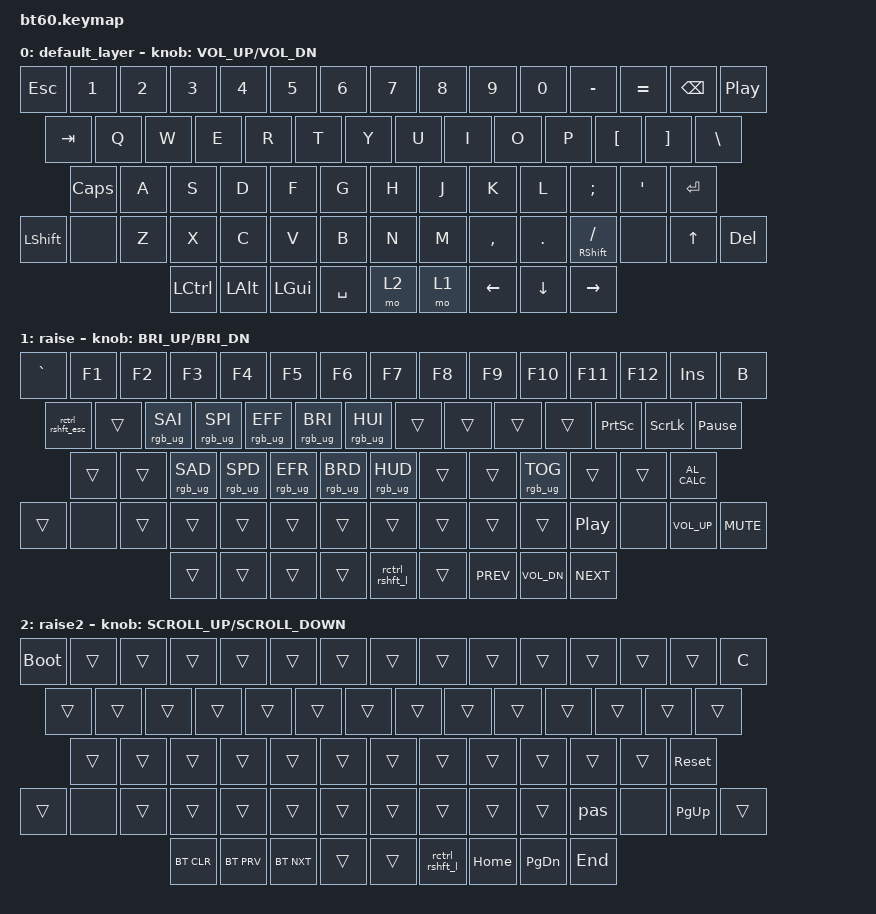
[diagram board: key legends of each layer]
#include <behaviors.dtsi>
#include <dt-bindings/zmk/keys.h>
#include <dt-bindings/zmk/bt.h>
#include <dt-bindings/zmk/rgb.h>
#include <dt-bindings/zmk/backlight.h>
/ {
    macros {
        rctrl_rshft_l: rctrl_rshft_l {
            label = "ZM_rctrl_rshft_l";
            compatible = "zmk,behavior-macro";
            #binding-cells = <0>;
	    wait-ms = <40>;
	    tap-ms = <40>;
            bindings
                = <&macro_press &kp RCTRL &kp RSHFT>
                , <&macro_tap &kp L>
                , <&macro_release &kp RCTRL &kp RSHFT>
                ;
        };
	rctrl_rshft_esc: rctrl_rshft_esc {
            label = "ZM_rctrl_rshft_esc";
            compatible = "zmk,behavior-macro";
            #binding-cells = <0>;
	    wait-ms = <40>;
	    tap-ms = <40>;
            bindings
                = <&macro_press &kp RCTRL &kp RSHFT>
                , <&macro_tap &kp ESC>
                , <&macro_release &kp RCTRL &kp RSHFT>
                ;
        };
	pas: pas {
            label = "ZM_pas";
            compatible = "zmk,behavior-macro";
            #binding-cells = <0>;
	    wait-ms = <40>;
	    tap-ms = <40>;
            bindings
                = <&macro_press &kp RSHFT>
                , <&macro_tap &kp P>
                , <&macro_release &kp RSHFT>
		, <&macro_tap &kp A &kp S &kp S>
		, <&macro_press &kp RSHFT>
		, <&macro_tap &kp W>
		, <&macro_release &kp RSHFT>
		, <&macro_tap &kp O &kp R &kp D>
                ;
        };
    };
};
/ {
	keymap {
		compatible = "zmk,keymap";

		default_layer {
				// ------------------------------------------------------------------------------------------
				// | ESC |  1  |  2  |  3  |  4  |  5  |  6  |  7  |  8  |  9  |  0  |  -  |  =  |BKSP | DEL | vol up/dn
				// | TAB  |  Q  |  W  |  E  |  R  |  T  |  Y  |  U  |  I  |  O  |  P  |  [  |  ]  |      |   |
				// | CAPS  |  A  |  S  |  D  |  F  |  G  |  H  |  J  |  K  |  L  |  ;  |  '  |      ENTER    |
				// |  SHIFT|NONE|  Z  |  X  |  C  |  V  |  B  |  N  |  M  |  ,  |  .  |  SHFT/|NONE| UP | DEL|
				// |  CTL  |  WIN  |  ALT  |            SPACE              | MO2 | MO1 | LEFT | DOWN | RIGHT |
				// ------------------------------------------------------------------------------------------
			bindings = <
				&kp ESC &kp N1 &kp N2 &kp N3 &kp N4 &kp N5 &kp N6 &kp N7 &kp  N8   &kp  N9 &kp  N0  &kp MINUS &kp EQUAL &kp BSPC &kp C_PP
				&kp TAB  &kp Q  &kp W  &kp E  &kp R  &kp T  &kp Y  &kp U  &kp  I    &kp  O  &kp  P   &kp LBKT &kp RBKT  &kp BSLH
				&kp CLCK  &kp A  &kp S  &kp D  &kp F  &kp G  &kp H  &kp J  &kp  K    &kp  L  &kp SEMI &kp APOS          &kp RET
				&kp LSHFT &none  &kp Z  &kp X  &kp C  &kp V  &kp B  &kp N  &kp M  &kp COMMA &kp DOT &mt RSHIFT FSLH &none &kp UP &kp DEL
				&kp LCTRL &kp LALT &kp LGUI            &kp SPACE                          &mo 2  &mo 1 &kp LEFT &kp DOWN &kp RIGHT
			>;
			sensor-bindings = <&inc_dec_kp C_VOL_UP C_VOL_DN>;
		};
		raise {
				// ------------------------------------------------------------------------------------------
				// |  `  | F1  | F2  | F3  | F4  | F5  | F6  | F7  | F8  | F9  | F10 | F11 | F12 | INS | idkB| screen brightness up/dn
				// |TSKMAN|     | satU| spdU| effU| briU| hueU|     |     |     |     |pscrn| slck|pausebreak|
				// |       |     | satD| spdD| effD| briD| hueD|     |     |UGtog|     |      |     calc     |
				// |       |NONE|     |     |     |     |     |     |     |     |     |PlaPaus|NONE| Vup|MUTE|
				// |       |       |       |                               | CSL | TRNS| PREV | Vdn  | NEXT  |
				// ------------------------------------------------------------------------------------------
			bindings = <
				&kp GRAVE &kp F1 &kp F2 &kp F3 &kp F4 &kp F5 &kp F6 &kp F7 &kp  F8   &kp  F9 &kp  F10  &kp F11 &kp F12   &kp INS &kp B 
				&rctrl_rshft_esc &trans &rgb_ug RGB_SAI &rgb_ug RGB_SPI &rgb_ug RGB_EFF &rgb_ug RGB_BRI &rgb_ug RGB_HUI &trans &trans &trans &trans &kp PSCRN &kp SLCK &kp PAUSE_BREAK
				&trans           &trans &rgb_ug RGB_SAD &rgb_ug RGB_SPD &rgb_ug RGB_EFR &rgb_ug RGB_BRD &rgb_ug RGB_HUD &trans &trans &rgb_ug RGB_TOG &trans  &trans   &kp C_AL_CALC
				&trans &none     &trans &trans &trans &trans &trans &trans &trans &trans &trans &kp C_PP &none &kp C_VOL_UP &kp C_MUTE
				&trans &trans &trans              &trans                            &rctrl_rshft_l  &trans &kp C_PREV &kp C_VOL_DN &kp C_NEXT
			>;
			sensor-bindings = <&inc_dec_kp C_BRI_UP C_BRI_DN>;
		};
		raise2 {
				// ------------------------------------------------------------------------------------------
				// |bootl|     |     |     |     |     |     |     |     |     |     |     |     |     | idkC|   scroll up/dn
				// |      |     |     |     |     |     |     |     |     |     |     |     |     |          |
				// |       |     |     |     |     |     |     |     |     |     |     |      |     reset    |
				// |       |NONE|     |     |     |     |     |     |     |     |     |  pas  |NONE|PGUP|    |
				// | BTclr | BTprv | BTnxt |                               | TRNS| CSL | HOME | PGDN |  END  |
				// ------------------------------------------------------------------------------------------
			bindings = <
				&bootloader &trans &trans &trans &trans &trans &trans &trans &trans &trans &trans &trans &trans &trans &kp C
				&trans &trans &trans &trans &trans &trans &trans &trans &trans &trans &trans &trans &trans &trans
				&trans &trans &trans &trans &trans &trans &trans &trans &trans &trans &trans &trans &sys_reset
				&trans &none &trans &trans &trans &trans &trans &trans &trans &trans &trans &pas &none &kp PG_UP &trans
				&bt BT_CLR &bt BT_PRV  &bt BT_NXT              &trans                    &trans  &rctrl_rshft_l &kp HOME &kp PG_DN &kp END
			>;
			sensor-bindings = <&inc_dec_kp K_SCROLL_UP K_SCROLL_DOWN>;
		};
	};
};
